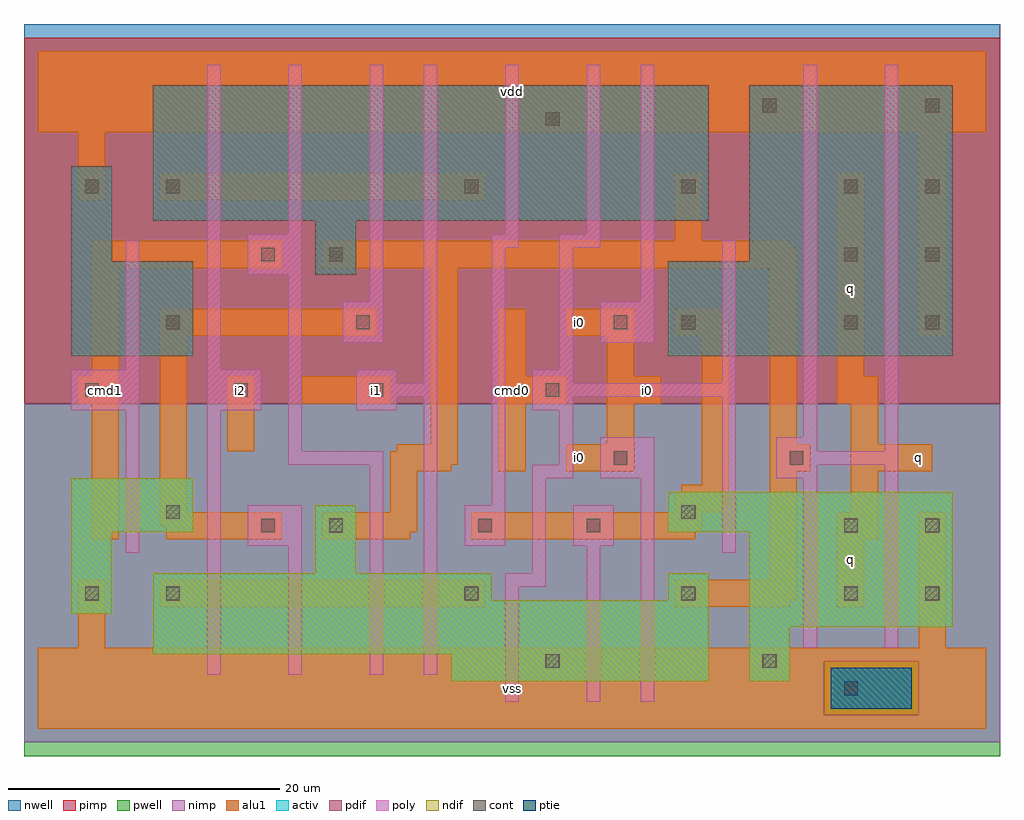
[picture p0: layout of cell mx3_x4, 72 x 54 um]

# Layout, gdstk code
import gdstk
lib = gdstk.Library(unit=1e-6, precision=1e-09)
def R(c, l, rs):  # rectangles x0, y0, x1, y1
    for r in rs: c.add(gdstk.rectangle(r[:2], r[2:], *l))
def A(c, l, x, y, w, h, nx, ny, dx, dy):  # array of equal rectangles
    R(c, l, [(x+i*dx, y+j*dy, x+i*dx+w, y+j*dy+h) for i in range(nx) for j in range(ny)])
ndif = (3, 0)
pdif = (4, 0)
ptie = (6, 0)
cont = (25, 0)
pwell = (41, 0)
nwell = (42, 0)
activ = (43, 0)
pimp = (44, 0)
nimp = (45, 0)
poly = (46, 0)
alu1 = (49, 0)

mx3_x4 = lib.new_cell('mx3_x4')
R(mx3_x4, ndif, [(30.5,3.5,49.5,5.5), (52.5,3.5,55.5,7.5), (8.5,5.5,49.5,9.5), (52.5,7.5,67.5,14.5), (2.5,8.5,5.5,14.5), (8.5,9.5,33.5,11.5), (46.5,9.5,49.5,11.5), (20.5,11.5,23.5,16.5), (2.5,14.5,11.5,18.5), (46.5,14.5,67.5,17.5)])
R(mx3_x4, pdif, [(2.5,27.5,11.5,34.5), (46.5,27.5,67.5,34.5), (20.5,33.5,23.5,37.5), (2.5,34.5,5.5,41.5), (52.5,34.5,67.5,47.5), (8.5,37.5,49.5,47.5)])
R(mx3_x4, ptie, [(58.5,1.5,64.5,4.5)])
A(mx3_x4, cont, 37.5, 4.5, 1, 1, 1, 3, 0, 20)
A(mx3_x4, cont, 3.5, 9.5, 1, 1, 1, 3, 0, 15)
A(mx3_x4, cont, 59.5, 29.5, 1, 1, 1, 3, 0, 5)
A(mx3_x4, cont, 65.5, 29.5, 1, 1, 1, 3, 0, 5)
R(mx3_x4, cont, [(59.5,2.5,60.5,3.5), (53.5,4.5,54.5,5.5), (9.5,9.5,10.5,10.5), (31.5,9.5,32.5,10.5), (47.5,9.5,48.5,10.5), (59.5,9.5,60.5,10.5), (65.5,9.5,66.5,10.5), (16.5,14.5,17.5,15.5), (21.5,14.5,22.5,15.5), (32.5,14.5,33.5,15.5), (40.5,14.5,41.5,15.5), (59.5,14.5,60.5,15.5), (65.5,14.5,66.5,15.5), (9.5,15.5,10.5,16.5), (47.5,15.5,48.5,16.5), (42.5,19.5,43.5,20.5), (55.5,19.5,56.5,20.5), (14.5,24.5,15.5,25.5), (24.5,24.5,25.5,25.5), (9.5,29.5,10.5,30.5), (23.5,29.5,24.5,30.5), (42.5,29.5,43.5,30.5), (47.5,29.5,48.5,30.5), (16.5,34.5,17.5,35.5), (21.5,34.5,22.5,35.5), (9.5,39.5,10.5,40.5), (31.5,39.5,32.5,40.5), (47.5,39.5,48.5,40.5), (53.5,45.5,54.5,46.5), (65.5,45.5,66.5,46.5)])
R(mx3_x4, pwell, [(-1,-2,71,24)])
R(mx3_x4, nwell, [(-1,24,71,52)])
R(mx3_x4, activ, [(58.5,1.5,64.5,4.5), (30.5,3.5,49.5,5.5), (52.5,3.5,55.5,7.5), (8.5,5.5,49.5,9.5), (52.5,7.5,67.5,14.5), (2.5,8.5,5.5,14.5), (8.5,9.5,33.5,11.5), (46.5,9.5,49.5,11.5), (20.5,11.5,23.5,16.5), (2.5,14.5,11.5,18.5), (46.5,14.5,67.5,17.5), (2.5,27.5,11.5,34.5), (46.5,27.5,67.5,34.5), (20.5,33.5,23.5,37.5), (2.5,34.5,5.5,41.5), (52.5,34.5,67.5,47.5), (8.5,37.5,49.5,47.5)])
R(mx3_x4, pimp, [(58,1,65,5), (-1,24,71,51)])
R(mx3_x4, nimp, [(-1,-1,71,1), (-1,1,58,5), (65,1,71,5), (-1,5,71,24)])
R(mx3_x4, poly, [(34.5,2,35.5,10.5), (40.5,2,41.5,13.5), (44.5,2,45.5,18.5), (12.5,4,13.5,23.5), (18.5,4,19.5,13.5), (24.5,4,25.5,19.5), (28.5,4,29.5,24.5), (56.5,6,57.5,18.5), (62.5,6,63.5,19.5), (34.5,10.5,37.5,11.5), (36.5,11.5,37.5,18.5), (6.5,13,7.5,23.5), (50.5,13,51.5,24.5), (15.5,13.5,19.5,16.5), (31.5,13.5,34.5,16.5), (39.5,13.5,42.5,16.5), (33.5,16.5,34.5,35.5), (36.5,18.5,39.5,19.5), (41.5,18.5,45.5,21.5), (54.5,18.5,57.5,19.5), (18.5,19.5,25.5,20.5), (38.5,19.5,39.5,23.5), (54.5,19.5,63.5,20.5), (18.5,20.5,19.5,33.5), (54.5,20.5,57.5,21.5), (62.5,20.5,63.5,49), (56.5,21.5,57.5,49), (2.5,23.5,7.5,26.5), (12.5,23.5,16.5,26.5), (23.5,23.5,26.5,24.5), (36.5,23.5,39.5,24.5), (23.5,24.5,29.5,25.5), (36.5,24.5,51.5,25.5), (23.5,25.5,26.5,26.5), (28.5,25.5,29.5,49), (36.5,25.5,39.5,26.5), (50.5,25.5,51.5,36), (6.5,26.5,7.5,36), (12.5,26.5,13.5,49), (38.5,26.5,39.5,35.5), (22.5,28.5,25.5,31.5), (41.5,28.5,45.5,31.5), (24.5,31.5,25.5,49), (44.5,31.5,45.5,49), (15.5,33.5,19.5,36.5), (33.5,35.5,35.5,36.5), (38.5,35.5,41.5,36.5), (18.5,36.5,19.5,49), (34.5,36.5,35.5,49), (40.5,36.5,41.5,49)])
R(mx3_x4, alu1, [(0,0,70,6), (3,6,5,11), (65,6,67,16), (9,9,33,11), (47,9,55.5,9.5), (59,9,61,14), (47,9.5,56,11), (54,11,56,19), (4,14,6,24), (9.5,14,18,15), (21,14,27.5,14.5), (32,14,48.5,14.5), (59,14,62,16), (21,14.5,28,16), (32,14.5,49,16), (9,15,18,16), (9,16,11,29), (26,16,28,19), (47,16,50.5,16.5), (60,16,62,19), (47,16.5,51,17.5), (47.5,17.5,51,18), (49,18,51,29), (26,19,30.5,19.5), (34,19,36,24), (39,19,44,21), (54,19,57,21), (60,19,66,21), (26,19.5,31,20.5), (14,20.5,16,26), (26.5,20.5,31,21), (29,21,31,34), (42,21,44,24), (54,21,56,34), (60,21,62,24), (3,24,6,26), (19.5,24,26,26), (34,24,39,26), (42,24,46,26), (59,24,62,26), (4,26,6,34), (34,26,36,31), (42,26,44,29), (59,26,61,41), (9,29,25,31), (39,29,44,31), (47,29,51,30), (65,29,67,44), (47,30,50.5,31), (4,34,18,36), (21,34,56,35.5), (21,35.5,55.5,36), (47,36,49,41), (3,39,5,44), (9,39,33,41), (0,44,70,50)])
mx3_x4.add(gdstk.Label('cmd1', (5,25), layer=49, texttype=0))
mx3_x4.add(gdstk.Label('i2', (15,25), layer=49, texttype=0))
mx3_x4.add(gdstk.Label('i1', (25,25), layer=49, texttype=0))
mx3_x4.add(gdstk.Label('vss', (35,3), layer=49, texttype=0))
mx3_x4.add(gdstk.Label('i0', (40,20), layer=49, texttype=0))
mx3_x4.add(gdstk.Label('cmd0', (35,25), layer=49, texttype=0))
mx3_x4.add(gdstk.Label('i0', (40,30), layer=49, texttype=0))
mx3_x4.add(gdstk.Label('vdd', (35,47), layer=49, texttype=0))
mx3_x4.add(gdstk.Label('i0', (45,25), layer=49, texttype=0))
mx3_x4.add(gdstk.Label('q', (60,12.5), layer=49, texttype=0))
mx3_x4.add(gdstk.Label('q', (65,20), layer=49, texttype=0))
mx3_x4.add(gdstk.Label('q', (60,32.5), layer=49, texttype=0))

lib.write_gds('mx3_x4.gds')
